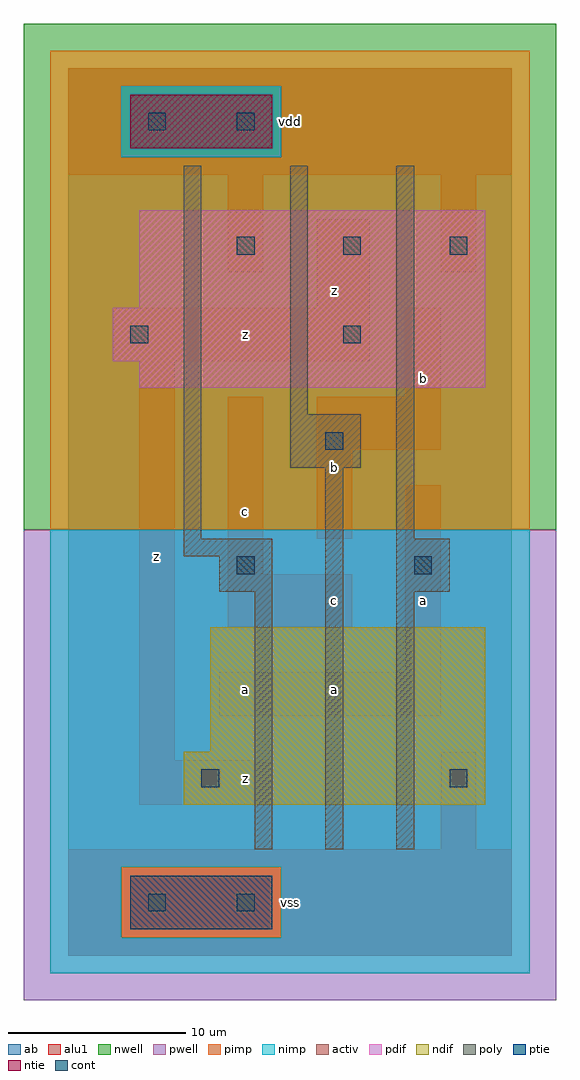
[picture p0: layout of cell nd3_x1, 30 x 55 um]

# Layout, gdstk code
import gdstk
lib = gdstk.Library(unit=1e-6, precision=1e-09)
def R(c, l, rs):  # rectangles x0, y0, x1, y1
    for r in rs: c.add(gdstk.rectangle(r[:2], r[2:], *l))
def A(c, l, x, y, w, h, nx, ny, dx, dy):  # array of equal rectangles
    R(c, l, [(x+i*dx, y+j*dy, x+i*dx+w, y+j*dy+h) for i in range(nx) for j in range(ny)])
ndif = (3, 0)
pdif = (4, 0)
ntie = (5, 0)
ptie = (6, 0)
cont = (25, 0)
pwell = (41, 0)
nwell = (42, 0)
activ = (43, 0)
pimp = (44, 0)
nimp = (45, 0)
poly = (46, 0)
alu1 = (49, 0)
ab = (63, 0)

nd3_x1 = lib.new_cell('nd3_x1')
R(nd3_x1, ndif, [(6.5,8.5,23.5,11.5), (8,11.5,23.5,18.5)])
R(nd3_x1, pdif, [(4,32,23.5,33.5), (2.5,33.5,23.5,36.5), (4,36.5,23.5,42)])
R(nd3_x1, ntie, [(3.5,45.5,11.5,48.5)])
R(nd3_x1, ptie, [(3.5,1.5,11.5,4.5)])
A(nd3_x1, cont, 9.5, 39.5, 1, 1, 3, 1, 6, 0)
R(nd3_x1, cont, [(4.5,2.5,5.5,3.5), (9.5,2.5,10.5,3.5), (7.5,9.5,8.5,10.5), (21.5,9.5,22.5,10.5), (9.5,21.5,10.5,22.5), (19.5,21.5,20.5,22.5), (14.5,28.5,15.5,29.5), (3.5,34.5,4.5,35.5), (15.5,34.5,16.5,35.5), (4.5,46.5,5.5,47.5), (9.5,46.5,10.5,47.5)])
R(nd3_x1, pwell, [(-2.5,-2.5,27.5,24)])
R(nd3_x1, nwell, [(-2.5,24,27.5,52.5)])
R(nd3_x1, activ, [(3.5,1.5,11.5,4.5), (6.5,8.5,23.5,11.5), (8,11.5,23.5,18.5), (4,32,23.5,33.5), (2.5,33.5,23.5,36.5), (4,36.5,23.5,42), (3.5,45.5,11.5,48.5)])
R(nd3_x1, pimp, [(3,1,12,5), (-1,24,26,45), (-1,45,3,49), (12,45,26,49), (-1,49,26,51)])
R(nd3_x1, nimp, [(-1,-1,26,1), (-1,1,3,5), (12,1,26,5), (-1,5,26,24), (3,45,12,49)])
R(nd3_x1, poly, [(10.5,6,11.5,20.5), (14.5,6,15.5,27.5), (18.5,6,19.5,20.5), (8.5,20.5,11.5,22.5), (18.5,20.5,21.5,23.5), (6.5,22.5,11.5,23.5), (6.5,23.5,7.5,44.5), (18.5,23.5,19.5,44.5), (12.5,27.5,16.5,30.5), (12.5,30.5,13.5,44.5)])
R(nd3_x1, alu1, [(0,0,25,6), (0,0,25,6), (21,6,23,11.5), (21,6,23,11.5), (4,8.5,11.5,11), (4,8.5,11.5,11), (4,11,6,33.5), (4,11,6,33.5), (8.5,13.5,21,16), (8.5,13.5,21,16), (19,16,21,26.5), (19,16,21,26.5), (9,18.5,16,21.5), (9,18.5,16,21.5), (9,21.5,11,31.5), (9,21.5,11,31.5), (14,23.5,16,28.5), (14,23.5,16,28.5), (14,28.5,21,31.5), (14,28.5,21,31.5), (19,31.5,21,36.5), (19,31.5,21,36.5), (2.5,33.5,17,36.5), (2.5,33.5,17,36.5), (14,36.5,17,41.5), (14,36.5,17,41.5), (9,38.5,11,44), (9,38.5,11,44), (21,38.5,23,44), (21,38.5,23,44), (0,44,25,50), (0,44,25,50)])
R(nd3_x1, ab, [(0,0,25,50)])
nd3_x1.add(gdstk.Label('z', (10,10), layer=49, texttype=0))
nd3_x1.add(gdstk.Label('z', (5,22.5), layer=49, texttype=0))
nd3_x1.add(gdstk.Label('a', (10,15), layer=49, texttype=0))
nd3_x1.add(gdstk.Label('c', (10,25), layer=49, texttype=0))
nd3_x1.add(gdstk.Label('z', (10,35), layer=49, texttype=0))
nd3_x1.add(gdstk.Label('vss', (12.5,3), layer=49, texttype=0))
nd3_x1.add(gdstk.Label('c', (15,20), layer=49, texttype=0))
nd3_x1.add(gdstk.Label('a', (15,15), layer=49, texttype=0))
nd3_x1.add(gdstk.Label('b', (15,27.5), layer=49, texttype=0))
nd3_x1.add(gdstk.Label('z', (15,37.5), layer=49, texttype=0))
nd3_x1.add(gdstk.Label('vdd', (12.5,47), layer=49, texttype=0))
nd3_x1.add(gdstk.Label('a', (20,20), layer=49, texttype=0))
nd3_x1.add(gdstk.Label('b', (20,32.5), layer=49, texttype=0))

lib.write_gds('nd3_x1.gds')
